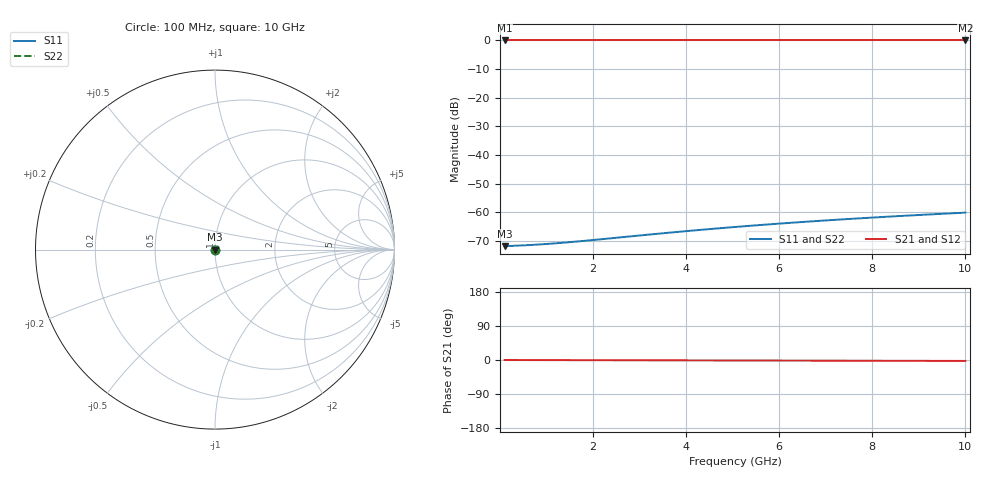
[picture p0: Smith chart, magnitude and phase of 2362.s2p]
# Hz S RI R 50.00
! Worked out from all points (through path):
!   100 points, 100 MHz to 10 GHz, reference 50 ohm
!   highest |S21| = 0.00 dB at 100 MHz (marker M1); lowest = 0.0 dB at 10 GHz (marker M2)
!   lowest |S11| = -71.7 dB at 100 MHz (marker M3), VSWR 1.00, Z = 50 + j0.000965 ohm
!   |S11| at or under -10 dB: start of sweep to end of sweep
!   |S22| runs from -71.7 to -60.1 dB; largest |S21 - S12| = 0
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1e8  0.000258 9.65e-06  0.9997 -0.000433  0.9997 -0.000433  0.000258 9.65e-06
5e8  0.000263 4.82e-05  0.9997 -0.00217  0.9997 -0.00217  0.000263 4.82e-05
7e8  0.000264 6.75e-05  0.9997 -0.00303  0.9997 -0.00303  0.000264 6.75e-05
9e8  0.000265 8.67e-05  0.9997 -0.0039  0.9997 -0.0039  0.000265 8.67e-05
1.1e9  0.000266 0.000106  0.9997 -0.00476  0.9997 -0.00476  0.000266 0.000106
1.3e9  0.000267 0.000125  0.9997 -0.00563  0.9997 -0.00563  0.000267 0.000125
1.5e9  0.000267 0.000144  0.9997 -0.0065  0.9997 -0.0065  0.000267 0.000144
1.8e9  0.000269 0.000173  0.9997 -0.0078  0.9997 -0.0078  0.000269 0.000173
2.2e9  0.00027 0.000211  0.9997 -0.00953  0.9997 -0.00953  0.00027 0.000211
3.4e9  0.000275 0.000326  0.9996 -0.0147  0.9996 -0.0147  0.000275 0.000326
3.9e9  0.000277 0.000373  0.9996 -0.0169  0.9996 -0.0169  0.000277 0.000373
4.3e9  0.000279 0.000411  0.9995 -0.0186  0.9995 -0.0186  0.000279 0.000411
4.7e9  0.000281 0.000449  0.9995 -0.0204  0.9995 -0.0204  0.000281 0.000449
5.1e9  0.000283 0.000487  0.9995 -0.0221  0.9995 -0.0221  0.000283 0.000487
5.5e9  0.000285 0.000524  0.9994 -0.0238  0.9994 -0.0238  0.000285 0.000524
5.9e9  0.000287 0.000562  0.9994 -0.0256  0.9994 -0.0256  0.000287 0.000562
6.3e9  0.00029 0.000599  0.9993 -0.0273  0.9993 -0.0273  0.00029 0.000599
6.7e9  0.000292 0.000636  0.9993 -0.029  0.9993 -0.029  0.000292 0.000636
7.5e9  0.000298 0.000711  0.9992 -0.0325  0.9992 -0.0325  0.000298 0.000711
8.4e9  0.000305 0.000794  0.999 -0.0364  0.999 -0.0364  0.000305 0.000794
9.2e9  0.000312 0.000868  0.9989 -0.0399  0.9989 -0.0399  0.000312 0.000868
1e10  0.000319 0.000941  0.9987 -0.0434  0.9987 -0.0434  0.000319 0.000941
